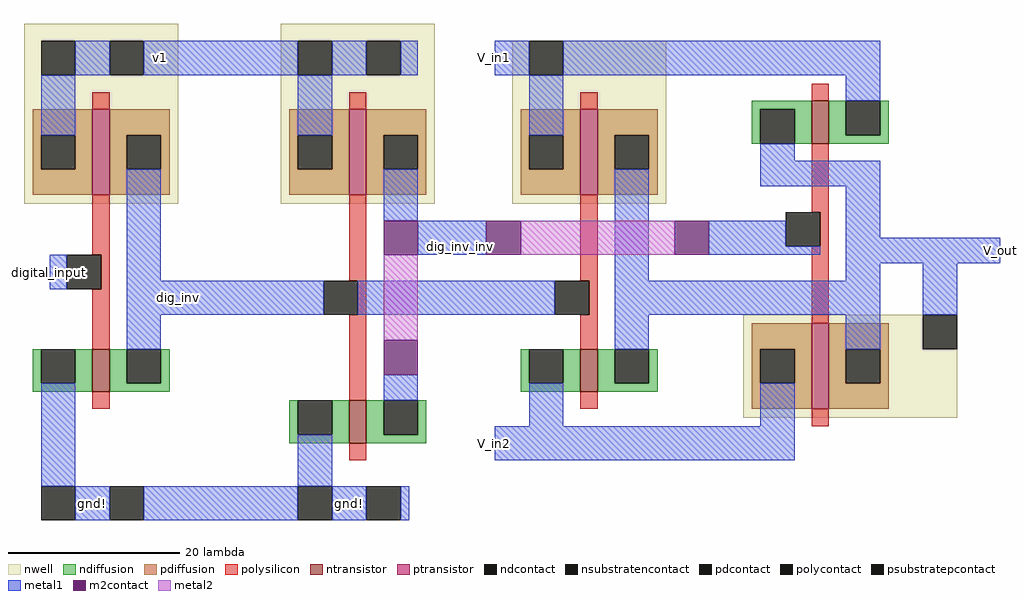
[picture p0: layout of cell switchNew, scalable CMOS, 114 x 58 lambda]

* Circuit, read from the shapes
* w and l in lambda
.subckt switchNew V_in1 V_in2 V_out dig_inv dig_inv_inv digital_input gnd! v1
M1 dig_inv digital_input gnd! gnd! nfet w=5 l=2
M2 dig_inv_inv dig_inv gnd! gnd! nfet w=5 l=2
M3 V_out dig_inv V_in2 gnd! nfet w=5 l=2
M4 V_in1 dig_inv_inv V_out gnd! nfet w=5 l=2
M5 dig_inv digital_input v1 v1 pfet w=10 l=2
M6 dig_inv_inv dig_inv v1 v1 pfet w=10 l=2
M7 V_out dig_inv V_in1 V_in1 pfet w=10 l=2
M8 V_out dig_inv_inv V_in2 V_out pfet w=10 l=2
.ends

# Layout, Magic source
magic
tech scmos
<< nwell >>
rect 46 15 64 36
rect 76 15 94 36
rect 103 15 121 34
rect 130 -10 155 2
<< polysilicon >>
rect 54 26 56 28
rect 84 26 86 28
rect 111 26 113 28
rect 138 27 140 29
rect 54 9 56 16
rect 55 5 56 9
rect 84 6 86 16
rect 111 6 113 16
rect 138 14 140 22
rect 139 10 140 14
rect 54 -2 56 5
rect 85 2 86 6
rect 112 2 113 6
rect 54 -9 56 -7
rect 84 -8 86 2
rect 111 -2 113 2
rect 138 1 140 10
rect 111 -9 113 -7
rect 138 -11 140 -9
rect 84 -15 86 -13
<< ndiffusion >>
rect 131 26 138 27
rect 131 22 132 26
rect 136 22 138 26
rect 140 23 142 27
rect 146 23 147 27
rect 140 22 147 23
rect 47 -6 48 -2
rect 52 -6 54 -2
rect 47 -7 54 -6
rect 56 -6 58 -2
rect 62 -6 63 -2
rect 56 -7 63 -6
rect 104 -6 105 -2
rect 109 -6 111 -2
rect 104 -7 111 -6
rect 113 -6 115 -2
rect 119 -6 120 -2
rect 113 -7 120 -6
rect 77 -12 78 -8
rect 82 -12 84 -8
rect 77 -13 84 -12
rect 86 -12 88 -8
rect 92 -12 93 -8
rect 86 -13 93 -12
<< pdiffusion >>
rect 47 23 54 26
rect 47 19 48 23
rect 52 19 54 23
rect 47 16 54 19
rect 56 23 63 26
rect 56 19 58 23
rect 62 19 63 23
rect 56 16 63 19
rect 77 23 84 26
rect 77 19 78 23
rect 82 19 84 23
rect 77 16 84 19
rect 86 23 93 26
rect 86 19 88 23
rect 92 19 93 23
rect 86 16 93 19
rect 104 23 111 26
rect 104 19 105 23
rect 109 19 111 23
rect 104 16 111 19
rect 113 23 120 26
rect 113 19 115 23
rect 119 19 120 23
rect 113 16 120 19
rect 131 -2 138 1
rect 131 -6 132 -2
rect 136 -6 138 -2
rect 131 -9 138 -6
rect 140 -2 147 1
rect 140 -6 142 -2
rect 146 -6 147 -2
rect 140 -9 147 -6
<< metal1 >>
rect 52 30 56 34
rect 60 30 78 34
rect 82 30 86 34
rect 90 30 92 34
rect 101 30 105 34
rect 109 30 146 34
rect 48 23 52 30
rect 78 23 82 30
rect 105 23 109 30
rect 142 27 146 30
rect 49 5 51 9
rect 58 6 62 19
rect 88 13 92 19
rect 92 9 100 13
rect 115 6 119 19
rect 132 20 136 22
rect 132 17 146 20
rect 126 10 135 13
rect 126 9 139 10
rect 142 11 146 17
rect 142 8 160 11
rect 142 6 146 8
rect 58 2 81 6
rect 85 2 108 6
rect 115 2 146 6
rect 58 -2 62 2
rect 115 -2 119 2
rect 142 -2 146 2
rect 151 2 155 8
rect 48 -18 52 -6
rect 88 -8 92 -5
rect 105 -11 109 -6
rect 132 -11 136 -6
rect 78 -18 82 -12
rect 101 -15 136 -11
rect 52 -22 56 -18
rect 60 -22 78 -18
rect 82 -22 86 -18
rect 90 -22 91 -18
<< metal2 >>
rect 104 9 122 13
rect 88 -1 92 9
<< ntransistor >>
rect 138 22 140 27
rect 54 -7 56 -2
rect 111 -7 113 -2
rect 84 -13 86 -8
<< ptransistor >>
rect 54 16 56 26
rect 84 16 86 26
rect 111 16 113 26
rect 138 -9 140 1
<< polycontact >>
rect 51 5 55 9
rect 135 10 139 14
rect 81 2 85 6
rect 108 2 112 6
<< ndcontact >>
rect 132 22 136 26
rect 142 23 146 27
rect 48 -6 52 -2
rect 58 -6 62 -2
rect 105 -6 109 -2
rect 115 -6 119 -2
rect 78 -12 82 -8
rect 88 -12 92 -8
<< pdcontact >>
rect 48 19 52 23
rect 58 19 62 23
rect 78 19 82 23
rect 88 19 92 23
rect 105 19 109 23
rect 115 19 119 23
rect 132 -6 136 -2
rect 142 -6 146 -2
<< m2contact >>
rect 88 9 92 13
rect 100 9 104 13
rect 122 9 126 13
rect 88 -5 92 -1
<< psubstratepcontact >>
rect 48 -22 52 -18
rect 56 -22 60 -18
rect 78 -22 82 -18
rect 86 -22 90 -18
<< nsubstratencontact >>
rect 48 30 52 34
rect 56 30 60 34
rect 78 30 82 34
rect 86 30 90 34
rect 105 30 109 34
rect 151 -2 155 2
<< labels >>
rlabel metal1 49 5 49 9 3 digital_input
rlabel metal1 101 30 101 34 5 V_in1
rlabel metal1 101 -15 101 -11 1 V_in2
rlabel metal1 64 4 64 4 1 dig_inv
rlabel metal1 84 -20 84 -20 1 gnd!
rlabel metal1 54 -20 54 -20 1 gnd!
rlabel metal1 97 10 97 10 1 dig_inv_inv
rlabel metal1 160 8 160 11 7 V_out
rlabel metal1 62 32 62 32 5 v1
<< end >>
